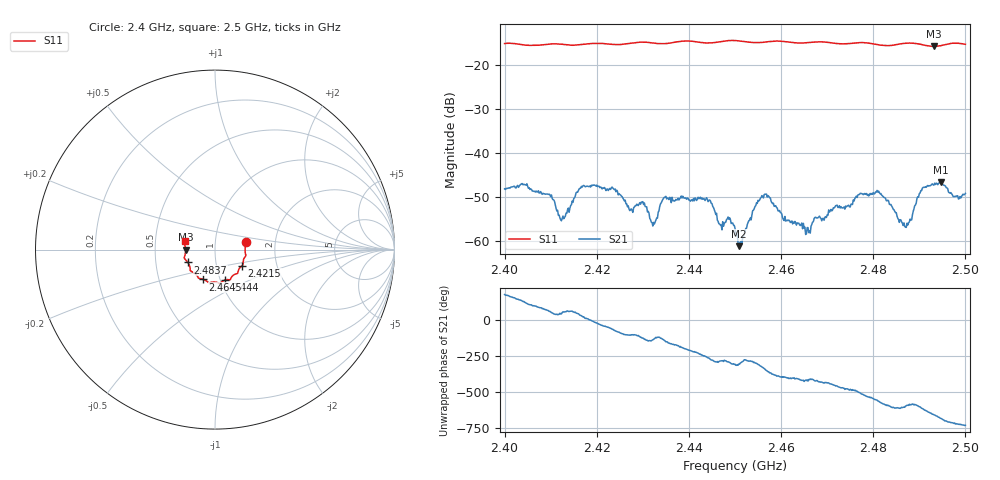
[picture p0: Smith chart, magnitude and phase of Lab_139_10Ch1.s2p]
# Hz S RI R 50
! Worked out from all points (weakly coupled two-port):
!   601 points, 2.4 GHz to 2.5 GHz, reference 50 ohm
!   highest |S21| = -46.69 dB at 2.4947 GHz (marker M1); lowest = -61.2 dB at 2.4508 GHz (marker M2)
!   lowest |S11| = -15.7 dB at 2.4932 GHz (marker M3), VSWR 1.39, Z = 35.9 - j0.0569 ohm
!   |S11| at or under -10 dB: start of sweep to end of sweep
!   S12 and S22 are empty: the file has one direction only
!   S11 on the Smith chart (normalised r, x): 2.4 GHz: 1.41, +0.12; 2.4215 GHz: 1.33, -0.25; 2.444 GHz: 1.06, -0.37; 2.4645 GHz: 0.83, -0.29; 2.4837 GHz: 0.73, -0.11; 2.5 GHz: 0.71, +0.07
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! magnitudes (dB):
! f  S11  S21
! 2.4 GHz  -15.1  -48.1
! 2.4097 GHz  -15.2  -49.3
! 2.4125 GHz  -15.3  -54.9
! 2.4167 GHz  -15.3  -47.6
! 2.4215 GHz  -15.1  -48.0
! 2.4322 GHz  -15.0  -56.6
! 2.4333 GHz  -15.1  -53.5
! 2.4348 GHz  -15.1  -50.0
! 2.444 GHz  -15.0  -50.5
! 2.45 GHz  -14.4  -57.1
! 2.4508 GHz  -14.5  -61.2
! 2.4563 GHz  -14.8  -49.4
! 2.4645 GHz  -15.0  -55.9
! 2.4667 GHz  -14.8  -56.2
! 2.4772 GHz  -14.9  -49.2
! 2.4833 GHz  -15.6  -50.9
! 2.4837 GHz  -15.5  -51.7
! 2.4873 GHz  -15.0  -56.0
! 2.4905 GHz  -15.3  -48.5
! 2.4932 GHz  -15.7  -47.3
! 2.4947 GHz  -15.6  -46.7
! 2.5 GHz  -15.3  -49.2
